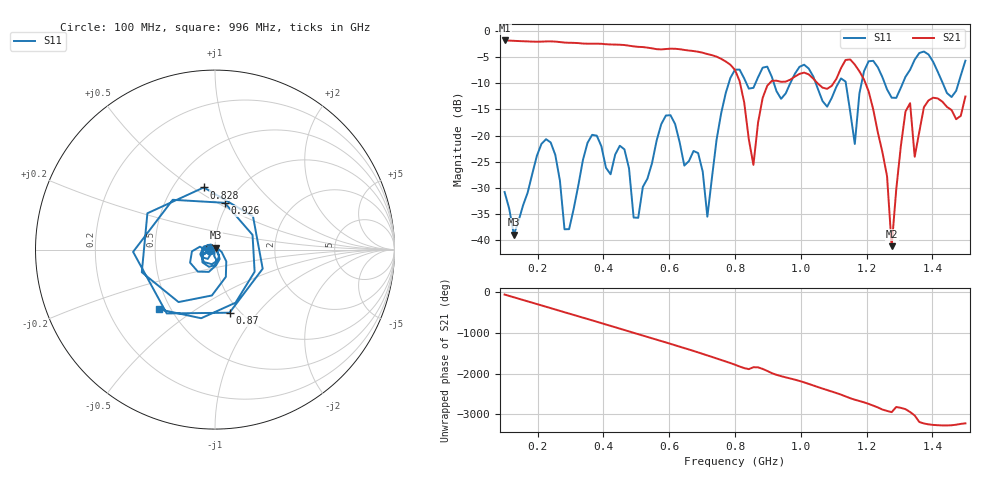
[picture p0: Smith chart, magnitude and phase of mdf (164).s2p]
! NanoVNA-App
! Date: 2025-09-25 15:39:42
! Start: 100MHz Stop: 1,5GHz Points: 101
! S-Parameter data: F S11 S21 S12 S22
# Hz S RI R 50
!  Frequency  S11_Real  S11_Imag  S21_Real  S21_Imag  S12_Real  S12_Imag  S22_Real  S22_Imag
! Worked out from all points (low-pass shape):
!   101 points, 100 MHz to 1.5 GHz, reference 50 ohm
!   highest |S21| = -1.80 dB at 100 MHz (marker M1); lowest = -41.2 dB at 1.276 GHz (marker M2)
!   |S21| within 3 dB of the highest: start of sweep to 739 MHz
!   lowest |S11| = -38.9 dB at 128 MHz (marker M3), VSWR 1.02, Z = 50.4 + j1.08 ohm
!   |S11| at or under -10 dB: start of sweep to 781 MHz; 1.046 GHz to 1.114 GHz (68.23 MHz wide, 6.32 % of centre); 1.255 GHz to 1.31 GHz (54.67 MHz wide, 4.26 % of centre) (the widest 3 of 7)
!   S12 and S22 are empty: the file has one direction only
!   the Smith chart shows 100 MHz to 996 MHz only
!   S11 on the Smith chart (normalised r, x): 100 MHz: 0.94, -0.01; 828 MHz: 0.70, +0.55; 870 MHz: 0.90, -0.73; 926 MHz: 0.97, +0.54; 996 MHz: 0.43, -0.37
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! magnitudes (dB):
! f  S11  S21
! 100 MHz  -30.8  -1.8
! 128 MHz  -38.9  -1.9
! 212 MHz  -21.6  -2.0
! 282 MHz  -37.9  -2.2
! 338 MHz  -24.7  -2.4
! 464 MHz  -22.6  -2.7
! 506 MHz  -35.7  -3.0
! 576 MHz  -17.8  -3.5
! 716 MHz  -35.5  -4.4
! 800 MHz  -7.4  -7.5
! 828 MHz  -9.1  -13.7
! 856 MHz  -10.9  -25.6
! 870 MHz  -8.9  -17.6
! 926 MHz  -11.5  -9.5
! 996 MHz  -6.8  -8.2
! 1.038 GHz  -8.7  -9.1
! 1.164 GHz  -21.6  -6.4
! 1.192 GHz  -7.7  -9.3
! 1.276 GHz  -12.8  -41.2
! 1.318 GHz  -8.8  -15.4
! 1.346 GHz  -5.5  -24.1
! 1.5 GHz  -5.7  -12.5
